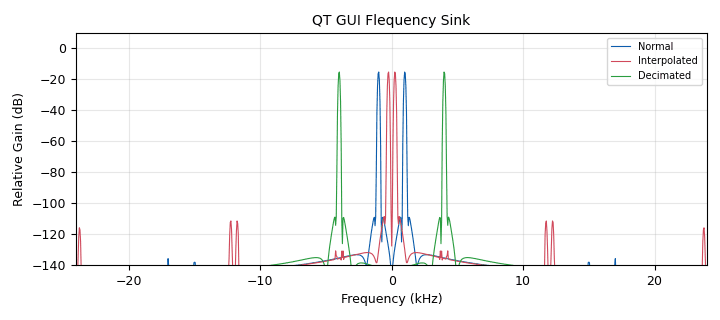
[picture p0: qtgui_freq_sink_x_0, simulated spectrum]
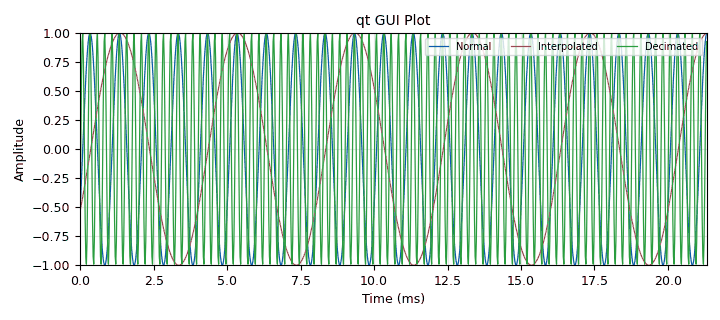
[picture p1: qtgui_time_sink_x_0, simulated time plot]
<?xml version='1.0' encoding='utf-8'?>
<?grc format='1' created='3.7.10'?>
<flow_graph>
<block>
<key>options</key>
<param><key>id</key><value>rational_resampler_functionality</value></param>
<param><key>author</key><value>Alexandros-Apostolos A. Boulogeorgos</value></param>
<param><key>generate_options</key><value>qt_gui</value></param>
<param><key>title</key><value>Rational Resampler Functionality</value></param>
</block>
<block>
<key>variable_qtgui_range</key>
<param><key>id</key><value>interpolation</value></param>
<param><key>value</key><value>4</value></param>
<param><key>label</key><value>Interpolation</value></param>
<param><key>orient</key><value>Qt.Horizontal</value></param>
<param><key>start</key><value>2</value></param>
<param><key>step</key><value>1</value></param>
<param><key>stop</key><value>16</value></param>
</block>
<block>
<key>variable</key>
<param><key>id</key><value>samp_rate</value></param>
<param><key>value</key><value>48000</value></param>
</block>
<block>
<key>analog_sig_source_x</key>
<param><key>id</key><value>analog_sig_source_x_0</value></param>
<param><key>amp</key><value>1</value></param>
<param><key>freq</key><value>1000</value></param>
<param><key>offset</key><value>0</value></param>
<param><key>type</key><value>float</value></param>
<param><key>samp_rate</key><value>samp_rate</value></param>
<param><key>waveform</key><value>analog.GR_COS_WAVE</value></param>
</block>
<block>
<key>analog_sig_source_x</key>
<param><key>id</key><value>analog_sig_source_x_0_0</value></param>
<param><key>amp</key><value>1</value></param>
<param><key>freq</key><value>1000</value></param>
<param><key>offset</key><value>0</value></param>
<param><key>type</key><value>float</value></param>
<param><key>samp_rate</key><value>samp_rate</value></param>
<param><key>waveform</key><value>analog.GR_COS_WAVE</value></param>
</block>
<block>
<key>analog_sig_source_x</key>
<param><key>id</key><value>analog_sig_source_x_0_0_0</value></param>
<param><key>amp</key><value>1</value></param>
<param><key>freq</key><value>1000</value></param>
<param><key>offset</key><value>0</value></param>
<param><key>type</key><value>float</value></param>
<param><key>samp_rate</key><value>samp_rate</value></param>
<param><key>waveform</key><value>analog.GR_COS_WAVE</value></param>
</block>
<block>
<key>blocks_throttle</key>
<param><key>id</key><value>blocks_throttle_0</value></param>
<param><key>samples_per_second</key><value>samp_rate</value></param>
<param><key>type</key><value>float</value></param>
</block>
<block>
<key>qtgui_freq_sink_x</key>
<param><key>id</key><value>qtgui_freq_sink_x_0</value></param>
<param><key>bw</key><value>samp_rate</value></param>
<param><key>fc</key><value>0</value></param>
<param><key>fftsize</key><value>1024</value></param>
<param><key>label1</key><value>Normal</value></param>
<param><key>label2</key><value>Interpolated</value></param>
<param><key>label3</key><value>Decimated</value></param>
<param><key>name</key><value>"QT GUI Flequency Sink"</value></param>
<param><key>nconnections</key><value>3</value></param>
<param><key>showports</key><value>True</value></param>
<param><key>type</key><value>float</value></param>
<param><key>wintype</key><value>firdes.WIN_BLACKMAN_hARRIS</value></param>
</block>
<block>
<key>qtgui_time_sink_x</key>
<param><key>id</key><value>qtgui_time_sink_x_0</value></param>
<param><key>color1</key><value>"blue"</value></param>
<param><key>label1</key><value>Normal</value></param>
<param><key>color2</key><value>"red"</value></param>
<param><key>label2</key><value>Interpolated</value></param>
<param><key>color3</key><value>"green"</value></param>
<param><key>label3</key><value>Decimated</value></param>
<param><key>name</key><value>"qt GUI Plot"</value></param>
<param><key>nconnections</key><value>3</value></param>
<param><key>size</key><value>1024</value></param>
<param><key>srate</key><value>samp_rate</value></param>
<param><key>type</key><value>float</value></param>
</block>
<block>
<key>rational_resampler_xxx</key>
<param><key>id</key><value>rational_resampler_xxx_0</value></param>
<param><key>decim</key><value>1</value></param>
<param><key>interp</key><value>1</value></param>
<param><key>taps</key><value></value></param>
<param><key>type</key><value>fff</value></param>
</block>
<block>
<key>rational_resampler_xxx</key>
<param><key>id</key><value>rational_resampler_xxx_0_0</value></param>
<param><key>decim</key><value>1</value></param>
<param><key>interp</key><value>interpolation</value></param>
<param><key>taps</key><value></value></param>
<param><key>type</key><value>fff</value></param>
</block>
<block>
<key>rational_resampler_xxx</key>
<param><key>id</key><value>rational_resampler_xxx_0_0_0</value></param>
<param><key>decim</key><value>4</value></param>
<param><key>interp</key><value>1</value></param>
<param><key>taps</key><value></value></param>
<param><key>type</key><value>fff</value></param>
</block>
<connection><source_block_id>analog_sig_source_x_0</source_block_id><sink_block_id>rational_resampler_xxx_0</sink_block_id><source_key>0</source_key><sink_key>0</sink_key></connection>
<connection><source_block_id>analog_sig_source_x_0_0</source_block_id><sink_block_id>rational_resampler_xxx_0_0</sink_block_id><source_key>0</source_key><sink_key>0</sink_key></connection>
<connection><source_block_id>analog_sig_source_x_0_0_0</source_block_id><sink_block_id>rational_resampler_xxx_0_0_0</sink_block_id><source_key>0</source_key><sink_key>0</sink_key></connection>
<connection><source_block_id>blocks_throttle_0</source_block_id><sink_block_id>qtgui_freq_sink_x_0</sink_block_id><source_key>0</source_key><sink_key>0</sink_key></connection>
<connection><source_block_id>blocks_throttle_0</source_block_id><sink_block_id>qtgui_time_sink_x_0</sink_block_id><source_key>0</source_key><sink_key>0</sink_key></connection>
<connection><source_block_id>rational_resampler_xxx_0</source_block_id><sink_block_id>blocks_throttle_0</sink_block_id><source_key>0</source_key><sink_key>0</sink_key></connection>
<connection><source_block_id>rational_resampler_xxx_0_0</source_block_id><sink_block_id>qtgui_freq_sink_x_0</sink_block_id><source_key>0</source_key><sink_key>1</sink_key></connection>
<connection><source_block_id>rational_resampler_xxx_0_0</source_block_id><sink_block_id>qtgui_time_sink_x_0</sink_block_id><source_key>0</source_key><sink_key>1</sink_key></connection>
<connection><source_block_id>rational_resampler_xxx_0_0_0</source_block_id><sink_block_id>qtgui_freq_sink_x_0</sink_block_id><source_key>0</source_key><sink_key>2</sink_key></connection>
<connection><source_block_id>rational_resampler_xxx_0_0_0</source_block_id><sink_block_id>qtgui_time_sink_x_0</sink_block_id><source_key>0</source_key><sink_key>2</sink_key></connection>
</flow_graph>
